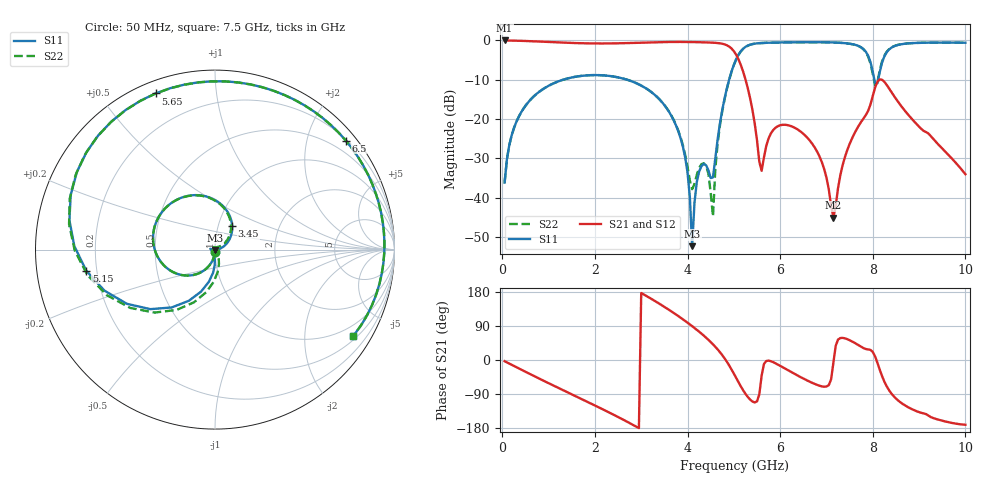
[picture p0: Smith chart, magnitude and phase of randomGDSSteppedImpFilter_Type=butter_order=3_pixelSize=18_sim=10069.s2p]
! freq	dB(S11)	phase(S11)	dB(S12)	phase(S12)
!  dB(S21)	phase(S21)	dB(S22)	phase(S22)
!S-par simulation data
#  GHz  S  DB  R 50
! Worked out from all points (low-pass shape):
!   200 points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, 50 MHz to 10 GHz, reference 50 ohm
!   highest |S21| = -0.01 dB at 50 MHz (marker M1); lowest = -45.1 dB at 7.15 GHz (marker M2)
!   |S21| within 3 dB of the highest: start of sweep to 5.015 GHz
!   lowest |S11| = -52.3 dB at 4.1 GHz (marker M3), VSWR 1.00, Z = 50 - j0.241 ohm
!   |S11| at or under -10 dB: start of sweep to 1.312 GHz; 2.696 GHz to 4.898 GHz (2.201 GHz wide, 58 % of centre); 8.035 GHz to 8.116 GHz (81.19 MHz wide, 1.01 % of centre)
!   |S22| runs from -44.8 to -0.5 dB; largest |S21 - S12| = 0
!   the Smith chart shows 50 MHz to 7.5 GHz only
!   S11 on the Smith chart (normalised r, x): 50 MHz: 1.00, -0.03; 3.45 GHz: 1.17, +0.32; 5.15 GHz: 0.16, -0.08; 5.65 GHz: 0.05, +0.69; 6.5 GHz: 0.23, +2.75; 7.5 GHz: 0.61, -3.39
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0.05  -36.18 -92.9  -0.01 -3.2  -0.01 -3.2  -36.18 -92.8
0.5  -16.63 -121.5  -0.14 -31.0  -0.14 -31.0  -16.62 -121.5
1.75  -8.96 164.1  -0.72 -105.2  -0.72 -105.2  -8.96 164.3
3.4  -15.08 57.9  -0.44 147.9  -0.44 147.9  -15.06 60.5
3.45  -15.73 54.2  -0.42 144.1  -0.42 144.1  -15.71 57.1
3.95  -29.81 12.6  -0.39 103.0  -0.39 103.0  -29.15 33.8
4.1  -52.34 -94.6  -0.41 89.3  -0.41 89.3  -37.84 86.6
4.25  -33.38 176.7  -0.45 74.8  -0.45 74.8  -32.47 134.7
4.55  -34.82 -128.2  -0.57 41.4  -0.57 41.4  -44.81 -1.7
4.7  -21.10 -91.1  -0.73 20.7  -0.73 20.7  -21.62 -74.5
5.05  -4.78 -148.4  -3.64 -47.3  -3.64 -47.3  -4.83 -145.5
5.15  -2.77 -170.8  -6.22 -69.5  -6.22 -69.5  -2.80 -168.6
5.65  -0.62 110.8  -29.76 -10.6  -29.76 -10.6  -0.63 111.4
6.5  -0.46 39.8  -23.75 -49.0  -23.75 -49.0  -0.46 39.8
6.7  -0.45 26.0  -26.41 -60.7  -26.41 -60.7  -0.45 26.0
7.15  -0.53 -4.6  -45.12 -7.7  -45.12 -7.7  -0.53 -4.7
7.5  -0.83 -32.0  -26.35 52.3  -26.35 52.3  -0.84 -32.2
8  -7.98 -139.9  -14.12 21.4  -14.12 21.4  -8.54 -145.0
8.15  -8.07 76.8  -9.91 -25.4  -9.91 -25.4  -7.65 70.9
8.35  -2.33 10.6  -12.17 -79.5  -12.17 -79.5  -2.24 8.9
8.95  -0.63 -45.3  -21.33 -135.4  -21.33 -135.4  -0.63 -45.7
10  -0.59 -89.8  -34.04 -170.9  -34.04 -170.9  -0.59 -89.9
